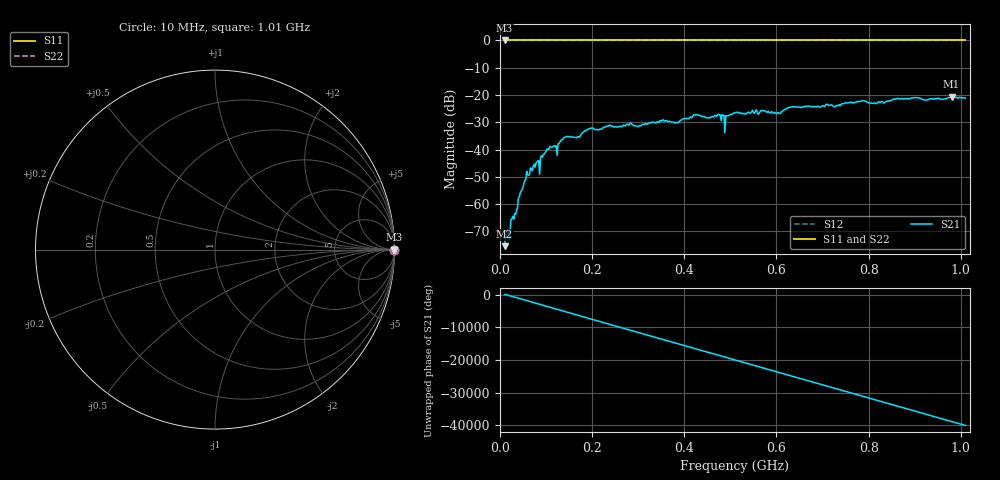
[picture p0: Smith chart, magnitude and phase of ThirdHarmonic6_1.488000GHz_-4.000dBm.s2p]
! 8/16/2025 5:25:10 PM
! C:\ANRITSUVNA\TEMP\TEMP.S2P
! CHANNEL.1
! TR.MEASUREMENT
! RAW.DATA
! RF.CORRECTION.OFF
! AVERAGING.OFF
! IF.BANDWIDTH: 5KHZ
! SWEEPTYPE:  FREQ.SWEEP(Linear)
! Reference Plane Port Info
! PORT:  PORT1  PORT2
! DISTANCE:  0  m  0  m
! TIME:  0  s  0  s
! PHASE.OFFSET:  0  deg.  0  deg.
! LOSS:  0  dB  0  dB
! REF.LOSS:  0  dB  0  dB
! REF.FREQ:  0  Hz  0  Hz
! Power Info
! POWER:  -20  dBm  -20  dBm
! EFF.POWER:  -20  dBm  -20  dBm
! SOURCE.ATTEN:  0  dB  0  dB
! TEST.ATTEN:  0  dB  0  dB
# GHZ S RI R 50.0
! FREQ.GHZ  S11RE  S11IM  S21RE  S21IM  S12RE  S12IM  S22RE  S22IM
!; PortSelection: Port_12
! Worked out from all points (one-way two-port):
!   501 points, 10 MHz to 1.01 GHz, reference 50 ohm
!   highest |S21| = -20.62 dB at 980 MHz (marker M1); lowest = -75.4 dB at 10 MHz (marker M2)
!   lowest |S11| = 0.0 dB at 10 MHz (marker M3)
!   |S11| at or under -10 dB: nowhere
!   |S22| runs from 0.0 to 0.0 dB; largest |S21 - S12| = 1.1
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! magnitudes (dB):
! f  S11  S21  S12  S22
! 10 MHz  0.0  -75.4  0.0  0.0
! 34 MHz  0.0  -63.7  0.0  0.0
! 54 MHz  0.0  -51.4  0.0  0.0
! 70 MHz  0.0  -47.7  0.0  0.0
! 88 MHz  0.0  -42.9  0.0  0.0
! 106 MHz  0.0  -39.9  0.0  0.0
! 124 MHz  0.0  -42.2  0.0  0.0
! 142 MHz  0.0  -35.4  0.0  0.0
! 178 MHz  0.0  -34.0  0.0  0.0
! 198 MHz  0.0  -32.1  0.0  0.0
! 344 MHz  0.0  -30.0  0.0  0.0
! 384 MHz  0.0  -30.1  0.0  0.0
! 424 MHz  0.0  -27.4  0.0  0.0
! 474 MHz  0.0  -27.1  0.0  0.0
! 484 MHz  0.0  -27.5  0.0  0.0
! 510 MHz  0.0  -26.5  0.0  0.0
! 604 MHz  0.0  -26.4  0.0  0.0
! 630 MHz  0.0  -24.5  0.0  0.0
! 678 MHz  0.0  -24.4  0.0  0.0
! 844 MHz  0.0  -22.2  0.0  0.0
! 980 MHz  0.0  -20.6  0.0  0.0
! 1.01 GHz  0.0  -21.1  0.0  0.0
